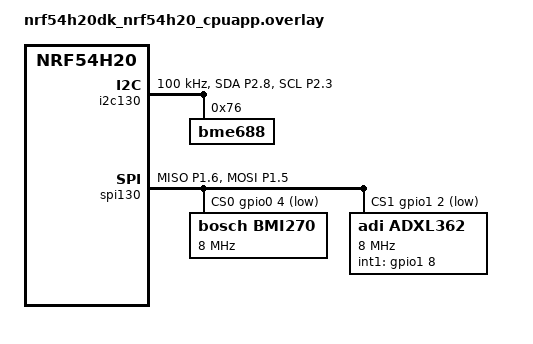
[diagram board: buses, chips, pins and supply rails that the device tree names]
/ {
	aliases {
		sensor-bme688 = &i2c130;
		accel0 = &adxl362;
		accel-gyro = &bmi270;
	};
};

&cpuapp_dma_region {
	status="okay";
};

&pinctrl {
	i2c130_default: i2c130_default {
		group1 {
			psels = <NRF_PSEL(TWIM_SDA, 2, 8)>,
				<NRF_PSEL(TWIM_SCL, 2, 3)>;
				bias-pull-up;
		};
	};

	i2c130_sleep: i2c130_sleep {
		group1 {
			psels = <NRF_PSEL(TWIM_SDA, 2, 8)>,
				<NRF_PSEL(TWIM_SCL, 2, 3)>;
			low-power-enable;
			bias-pull-up;
		};
	};

	spi130_default: spi130_default {
		group1 {
			psels = <NRF_PSEL(SPIM_MISO, 1, 6)>,
				<NRF_PSEL(SPIM_MOSI, 1, 5)>;
		};
	};

	spi130_sleep: spi130_sleep {
		group1 {
			psels = <NRF_PSEL(SPIM_MISO, 1, 6)>,
				<NRF_PSEL(SPIM_MOSI, 1, 5)>;
				low-power-enable;
		};
	};
};

&i2c130 {
	compatible = "nordic,nrf-twim";
	status = "okay";
	clock-frequency = <I2C_BITRATE_STANDARD>;
	pinctrl-0 = <&i2c130_default>;
	pinctrl-1 = <&i2c130_sleep>;
	pinctrl-names = "default", "sleep";
	memory-regions = <&cpuapp_dma_region>;
	bme688: bme688@76 {
		reg = <0x76>;
	};
};

&spi130 {
	status = "okay";
	pinctrl-0 = <&spi130_default>;
	pinctrl-1 = <&spi130_sleep>;
	pinctrl-names = "default", "sleep";
	cs-gpios = <&gpio0 4 GPIO_ACTIVE_LOW>,
				<&gpio1 2 GPIO_ACTIVE_LOW>;


	bmi270: bmi270@0 {
		compatible = "bosch,bmi270";
		status = "okay";
		reg = <0>;
		spi-max-frequency = <DT_FREQ_M(8)>;
	};

	adxl362: adxl362@1 {
		compatible = "adi,adxl362";
		status = "okay";
		reg = <1>;
		int1-gpios = <&gpio1 8 (GPIO_ACTIVE_HIGH)>;
		spi-max-frequency = <DT_FREQ_M(8)>;
	};
};
